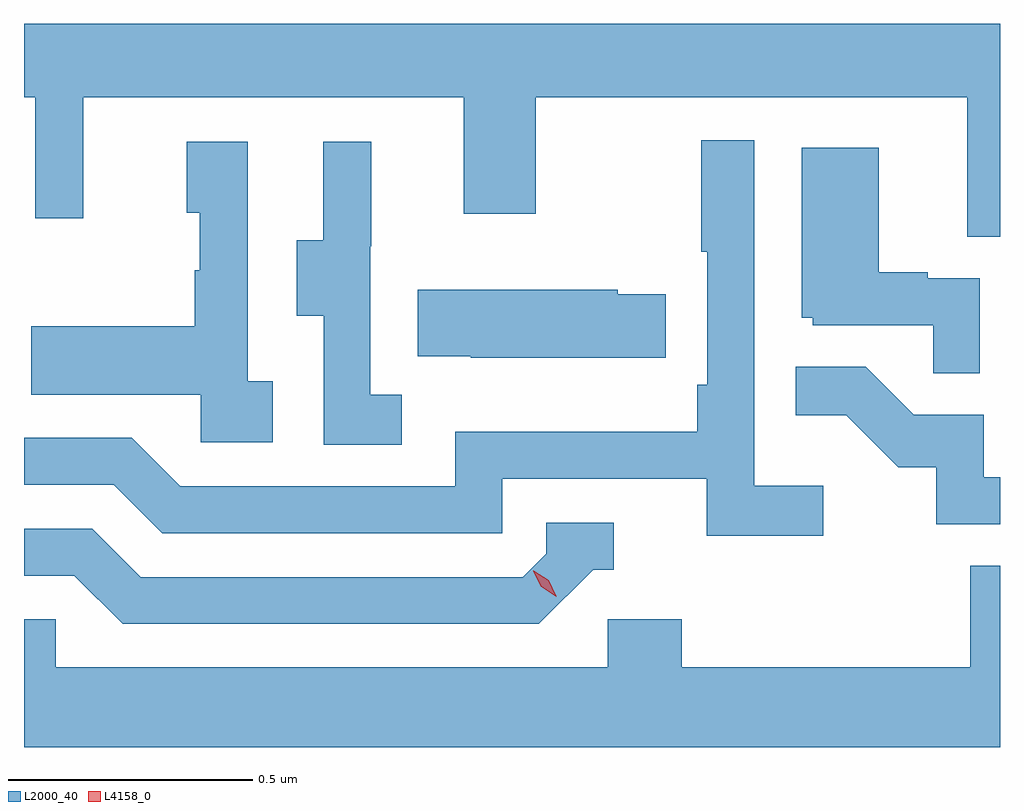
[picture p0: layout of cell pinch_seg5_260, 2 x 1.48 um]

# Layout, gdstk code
import gdstk
lib = gdstk.Library(unit=1e-6, precision=1e-09)
def P(c, l, *ps):  # polygons
    for p in ps: c.add(gdstk.Polygon(p, *l))
L2000_40 = (2000, 40)
L4158_0 = (4158, 0)

pinch_seg5_260 = lib.new_cell('pinch_seg5_260')
P(pinch_seg5_260, L2000_40, [(931.65,907.527),(929.65,907.527),(929.65,907.376),(929.673,907.376),(929.673,907.128),(929.771,907.128),(929.771,907.376),(930.551,907.376),(930.551,907.137),(930.699,907.137),(930.699,907.376),(931.583,907.376),(931.583,907.09),(931.65,907.09)],
  [(931.288,906.58),(931.146,906.58),(931.146,907.288),(931.038,907.288),(931.038,907.06),(931.05,907.06),(931.05,906.787),(931.03,906.787),(931.03,906.691),(930.534,906.691),(930.534,906.579),(929.97,906.579),(929.871,906.678),(929.65,906.678),(929.65,906.582),(929.834,906.582),(929.933,906.483),(930.63,906.483),(930.63,906.594),(931.049,906.594),(931.049,906.478),(931.288,906.478)],
  [(930.424,906.767),(930.36,906.767),(930.36,907.071),(930.362,907.071),(930.362,907.285),(930.263,907.285),(930.263,907.083),(930.209,907.083),(930.209,906.928),(930.264,906.928),(930.264,906.664),(930.424,906.664)],
  [(930.16,906.794),(930.108,906.794),(930.108,907.285),(929.984,907.285),(929.984,907.14),(930.01,907.14),(930.01,907.022),(930,907.022),(930,906.907),(929.665,906.907),(929.665,906.767),(930.012,906.767),(930.012,906.669),(930.16,906.669)],
  [(931.608,907.005),(931.502,907.005),(931.502,907.018),(931.402,907.018),(931.402,907.273),(931.244,907.273),(931.244,906.924),(931.266,906.924),(931.266,906.909),(931.513,906.909),(931.513,906.811),(931.608,906.811)],
  [(930.965,906.972),(930.867,906.972),(930.867,906.982),(930.457,906.982),(930.457,906.845),(930.565,906.845),(930.565,906.842),(930.965,906.842)],
  [(931.65,906.597),(931.617,906.597),(931.617,906.726),(931.473,906.726),(931.375,906.824),(931.231,906.824),(931.231,906.725),(931.335,906.725),(931.442,906.618),(931.519,906.618),(931.519,906.501),(931.65,906.501)],
  [(930.816,906.408),(930.859,906.408),(930.859,906.504),(930.72,906.504),(930.72,906.441),(930.672,906.393),(929.889,906.393),(929.79,906.492),(929.65,906.492),(929.65,906.396),(929.753,906.396),(929.852,906.297),(930.705,906.297)],
  [(931.65,906.416),(931.589,906.416),(931.589,906.208),(930.998,906.208),(930.998,906.306),(930.846,906.306),(930.846,906.208),(929.715,906.208),(929.715,906.306),(929.65,906.306),(929.65,906.044),(931.65,906.044)])
P(pinch_seg5_260, L4158_0, [(930.741,906.353),(930.71,906.373),(930.694,906.405),(930.694,906.406),(930.695,906.406),(930.725,906.386),(930.741,906.354),(930.741,906.353)])

lib.write_gds('pinch_seg5_260.gds')
